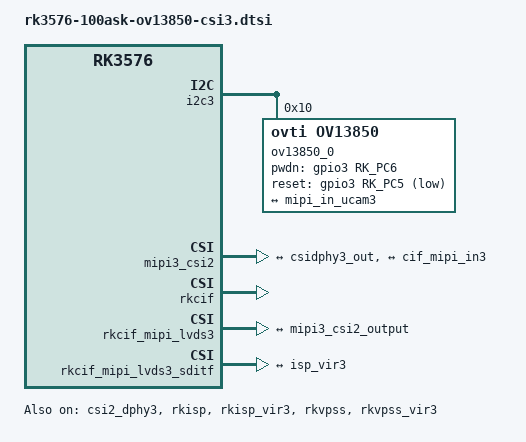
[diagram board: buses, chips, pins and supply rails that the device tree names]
&csi2_dphy3 {
	status = "okay";
	
	ports {
		#address-cells = <1>;
		#size-cells = <0>;
		port@0 {
			reg = <0>;
			#address-cells = <1>;
			#size-cells = <0>;

			mipi_in_ucam3: endpoint@1 {
					reg = <1>;
					remote-endpoint = <&ov13850_out0>;
					data-lanes = <1 2 3 4>;
			};
		};
		port@1 {
			reg = <1>;
			#address-cells = <1>;
			#size-cells = <0>;

			csidphy3_out: endpoint@0 {
				reg = <0>;
				remote-endpoint = <&mipi3_csi2_input>;
			};
		};
	};
};

&i2c3 {
	status = "okay";
	pinctrl-0 = <&i2c3m2_xfer>;
	
	ov13850_0: ov13850_0@10 {
		status = "okay";
		compatible = "ovti,ov13850";
		reg = <0x10>;
		clocks = <&cru CLK_MIPI_CAMERAOUT_M2>;
		clock-names = "xvclk";
		pinctrl-names = "default";
		pinctrl-0 = <&cam_clk2m0_clk2>;
		power-domains = <&power RK3576_PD_VI>;
		pwdn-gpios = <&gpio3 RK_PC6 GPIO_ACTIVE_HIGH>;
		reset-gpios = <&gpio3 RK_PC5 GPIO_ACTIVE_LOW>;
		rockchip,camera-module-index = <1>;
		rockchip,camera-module-facing = "front";
		rockchip,camera-module-name = "ZC-OV13850R2A-V1";
		rockchip,camera-module-lens-name = "Largan-50064B31";
		port {
			ov13850_out0: endpoint {
				remote-endpoint = <&mipi_in_ucam3>;
				data-lanes = <1 2 3 4>;
			};
		};
	};

};

&mipi3_csi2 {
	status = "okay";

	ports {
		#address-cells = <1>;
		#size-cells = <0>;

		port@0 {
			reg = <0>;
			#address-cells = <1>;
			#size-cells = <0>;

			mipi3_csi2_input: endpoint@1 {
				reg = <1>;
				remote-endpoint = <&csidphy3_out>;
			};
		};

		port@1 {
			reg = <1>;
			#address-cells = <1>;
			#size-cells = <0>;

			mipi3_csi2_output: endpoint@0 {
				reg = <0>;
				remote-endpoint = <&cif_mipi_in3>;
			};
		};
	};
};

&rkcif {
	status = "okay";
};

&rkcif_mipi_lvds3 {
	status = "okay";

	port {
		cif_mipi_in3: endpoint {
			remote-endpoint = <&mipi3_csi2_output>;
		};
	};
};

&rkcif_mipi_lvds3_sditf {
	status = "okay";

	port {
		mipi3_lvds_sditf: endpoint {
			remote-endpoint = <&isp_vir3>;
		};
	};
};

&rkcif_mmu {
	status = "okay";
};

&rkisp {
	status = "okay";
};

&rkisp_mmu {
	status = "okay";
};

&rkisp_vir3 {
	status = "okay";

	port {
		#address-cells = <1>;
		#size-cells = <0>;

		isp_vir3: endpoint@0 {
			reg = <0>;
			remote-endpoint = <&mipi3_lvds_sditf>;
		};
	};
};

&rkvpss {
	status = "okay";
};

&rkvpss_mmu {
	status = "okay";
};

&rkvpss_vir3 {
	status = "okay";
};

